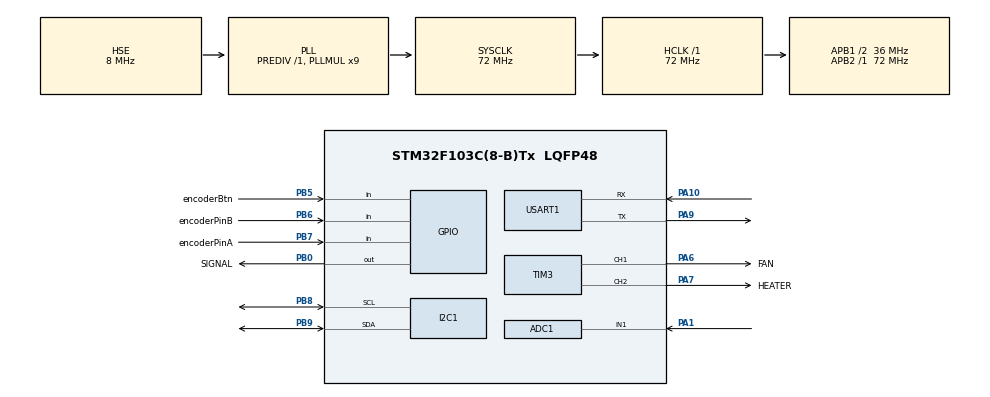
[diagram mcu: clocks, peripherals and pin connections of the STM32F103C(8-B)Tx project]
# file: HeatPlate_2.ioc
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ADC1.Channel-1\#ChannelRegularConversion=ADC_CHANNEL_1
ADC1.ContinuousConvMode=ENABLE
ADC1.EnableInjectedConversion=DISABLE
ADC1.ExternalTrigConv=ADC_SOFTWARE_START
ADC1.InjNumberOfConversion=3
ADC1.NbrOfConversion=1
ADC1.NbrOfConversionFlag=1
ADC1.Rank-1\#ChannelRegularConversion=1
ADC1.SamplingTime-1\#ChannelRegularConversion=ADC_SAMPLETIME_71CYCLES_5
ADC1.master=1
Dma.ADC1.0.Direction=DMA_PERIPH_TO_MEMORY
Dma.ADC1.0.Instance=DMA1_Channel1
Dma.ADC1.0.MemDataAlignment=DMA_MDATAALIGN_WORD
Dma.ADC1.0.MemInc=DMA_MINC_ENABLE
Dma.ADC1.0.Mode=DMA_CIRCULAR
Dma.ADC1.0.PeriphDataAlignment=DMA_PDATAALIGN_WORD
Dma.ADC1.0.PeriphInc=DMA_PINC_DISABLE
Dma.ADC1.0.Priority=DMA_PRIORITY_LOW
Dma.Request0=ADC1
Mcu.Family=STM32F1
Mcu.Name=STM32F103C(8-B)Tx
Mcu.Package=LQFP48
NVIC.DMA1_Channel1_IRQn=true\:0\:0\:false\:false\:true\:false\:true\:true
NVIC.PriorityGroup=NVIC_PRIORITYGROUP_4
NVIC.TIM2_IRQn=true\:0\:0\:false\:false\:true\:true\:true\:true
PA1.Signal=ADCx_IN1
PA10.Mode=Asynchronous
PA10.Signal=USART1_RX
PA13.Mode=Serial_Wire
PA13.Signal=SYS_JTMS-SWDIO
PA14.Mode=Serial_Wire
PA14.Signal=SYS_JTCK-SWCLK
PA6.GPIO_Label=FAN
PA6.Signal=S_TIM3_CH1
PA7.GPIO_Label=HEATER
PA7.Signal=S_TIM3_CH2
PA9.Mode=Asynchronous
PA9.Signal=USART1_TX
PB0.GPIO_Label=SIGNAL
PB0.Signal=GPIO_Output
PB5.GPIO_Label=encoderBtn
PB5.Signal=GPIO_Input
PB6.GPIO_Label=encoderPinB
PB6.Signal=GPIO_Input
PB7.GPIO_Label=encoderPinA
PB7.Signal=GPIO_Input
PB8.Mode=I2C
PB8.Signal=I2C1_SCL
PB9.Mode=I2C
PB9.Signal=I2C1_SDA
PD0-OSC_IN.Mode=HSE-External-Oscillator
PD0-OSC_IN.Signal=RCC_OSC_IN
PD1-OSC_OUT.Mode=HSE-External-Oscillator
PD1-OSC_OUT.Signal=RCC_OSC_OUT
ProjectManager.HeapSize=0x200
ProjectManager.StackSize=0x400
ProjectManager.TargetToolchain=STM32CubeIDE
RCC.ADCPresc=RCC_ADCPCLK2_DIV6
RCC.AHBFreq_Value=72000000
RCC.APB1CLKDivider=RCC_HCLK_DIV2
RCC.APB1Freq_Value=36000000
RCC.APB1TimFreq_Value=72000000
RCC.APB2Freq_Value=72000000
RCC.APB2TimFreq_Value=72000000
RCC.HCLKFreq_Value=72000000
RCC.PLLMUL=RCC_PLL_MUL9
RCC.PLLSourceVirtual=RCC_PLLSOURCE_HSE
RCC.SYSCLKFreq_VALUE=72000000
RCC.SYSCLKSource=RCC_SYSCLKSOURCE_PLLCLK
RCC.USBFreq_Value=72000000
SH.ADCx_IN1.0=ADC1_IN1,IN1
SH.S_TIM3_CH1.0=TIM3_CH1,PWM Generation1 CH1
SH.S_TIM3_CH2.0=TIM3_CH2,PWM Generation2 CH2
TIM2.AutoReloadPreload=TIM_AUTORELOAD_PRELOAD_ENABLE
TIM2.Period=2000-1
TIM2.Prescaler=720-1
TIM3.Channel-PWM\ Generation1\ CH1=TIM_CHANNEL_1
TIM3.Channel-PWM\ Generation2\ CH2=TIM_CHANNEL_2
USART1.VirtualMode=VM_ASYNC
VP_TIM2_VS_ClockSourceINT.Mode=Internal
board=custom

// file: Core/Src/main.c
/* USER CODE BEGIN Header */
/**
 ******************************************************************************
 * @file           : main.c
 * @brief          : Main program body
 ******************************************************************************
 * @attention
 *
 * Copyright (c) 2024 STMicroelectronics.
 * All rights reserved.
 *
 * This software is licensed under terms that can be found in the LICENSE file
 * in the root directory of this software component.
 * If no LICENSE file comes with this software, it is provided AS-IS.
 *
 ******************************************************************************
 */
/* USER CODE END Header */
#include "main.h"

/* USER CODE BEGIN Includes */
#include "stdio.h"
#include "stdlib.h"
#include "meun.h"
#include <string.h>
//#include "heater.h"
#include "NTCtempSensor.h"
#include "debug_print.h"
/* USER CODE END Includes */

/* USER CODE BEGIN PD */
//#define PREHEAT_TIME 100 * 1000 //sec to ms
//#define REFLOW_TIME 45 * 1000 //sec to ms
#define PREHEAT_TIME 10 * 1000 //sec to ms
#define REFLOW_TIME 5 * 1000 //sec to ms
#define PREHEAT_TEMP 150.0 //°C
#define REFLOW_TEMP 210.0 //°C

uint16_t counter_TM2 = 0;
uint32_t pid_counter = 0;

//state
uint8_t heatdone = 0;
uint8_t rundone = 1;

float err = 0.5;
//uint32_t reflowProcessTimeCounter = 0;
unsigned long long reflowProcessTimeCounter = 0;
unsigned long long _conventreflowProcessTimeCounter = 0;
uint32_t currentTimeCounter = 0;
uint16_t averageCurrentTemp = 0;
/* USER CODE END PD */

ADC_HandleTypeDef hadc1;
DMA_HandleTypeDef hdma_adc1;

I2C_HandleTypeDef hi2c1;

TIM_HandleTypeDef htim2;
TIM_HandleTypeDef htim3;

UART_HandleTypeDef huart1;

/* USER CODE BEGIN PV */
MEUN_TypeDef userMeun;
NTC_TypeDef ntc0;

//int list[] = {1, 2, 3};
//PIDController pidx[] = {pid0, pid1, pid2};

/* USER CODE END PV */

void SystemClock_Config(void);
static void MX_GPIO_Init(void);
static void MX_DMA_Init(void);
static void MX_TIM2_Init(void);
static void MX_USART1_UART_Init(void);
static void MX_ADC1_Init(void);
static void MX_I2C1_Init(void);
static void MX_TIM3_Init(void);
/* USER CODE BEGIN PFP */

void heating();
void reflowProcess();
/* USER CODE END PFP */

/* USER CODE BEGIN 0 */
double setTemp = 35.0;

double currentTemp;
double PIDOut;
uint32_t adcValue;
uint32_t CCR;
long double _resistor;
uint16_t _num;
uint8_t T_pinA;
uint8_t T_pinB;

/* USER CODE END 0 */

int main(void)
{

  /* MCU Configuration--------------------------------------------------------*/

  /* Reset of all peripherals, Initializes the Flash interface and the Systick. */
  HAL_Init();

  /* Configure the system clock */
  SystemClock_Config();

  /* Initialize all configured peripherals */
  MX_GPIO_Init();
  MX_DMA_Init();
  MX_TIM2_Init();
  MX_USART1_UART_Init();
  MX_ADC1_Init();
  MX_I2C1_Init();
  MX_TIM3_Init();
  /* USER CODE BEGIN 2 */
	debug_print("Init Start \n");
	HAL_GPIO_WritePin(GPIOC, GPIO_PIN_13, GPIO_PIN_RESET);
	debug_print("GPIO init OK!! \n");
	debug_print("heaterInit OK!! \n");

	meunInit(&userMeun, PREHEAT_TEMP, PREHEAT_TIME, REFLOW_TEMP, REFLOW_TIME);
	debug_print("meunInit OK!! \n");
	HAL_ADC_Start_DMA(&hadc1, &adcValue, 1);
	debug_print("ADC DMA init OK!! \n");
	HAL_TIM_Base_Start_IT(&htim2);
	HAL_TIM_Base_Start_IT(&htim3);
	HAL_TIM_PWM_Start(&htim3, TIM_CHANNEL_1);
	HAL_TIM_PWM_Start(&htim3, TIM_CHANNEL_2);
	debug_print("TIM init OK!! \n");
	debug_print("Init Done!! \n");

  /* USER CODE END 2 */

  /* Infinite loop */
  /* USER CODE BEGIN WHILE */
	while (1) {

		selectMeunHandler(&userMeun);
		T_pinA = GPIOB->IDR & GPIO_PIN_7;
		T_pinB = GPIOB->IDR & GPIO_PIN_8;
		if (counter_TM2 % 10 == 0) {
			if (userMeun.meunIndex == Reflow_Soliding_process
					&& userMeun.isReflowProcessing == 1) {
				reflowProcess();
			}
		}

		if (counter_TM2 % 12 == 0 && rundone) {

			displayMeunHandler(&userMeun);
		}

//		if (counter % 50 == 0 && rundone) {
//			printf("userMeun.isReflowProcessing = %d \r\n", userMeun.isReflowProcessing);
//			printf("reflowProcessTimeCounter = %lu \r\n", reflowProcessTimeCounter);
//			for(int i=0;i<3;i++){
//				printf("currentTemp %d = %3.f \r\n", i, currentTemp[i]);
//			}
//			printf("average = %d \r\n", averageCurrentTemp);
//		}
    /* USER CODE END WHILE */

	}
}

void SystemClock_Config(void)
{
  RCC_OscInitTypeDef RCC_OscInitStruct = {0};
  RCC_ClkInitTypeDef RCC_ClkInitStruct = {0};
  RCC_PeriphCLKInitTypeDef PeriphClkInit = {0};

  /** Initializes the RCC Oscillators according to the specified parameters
  * in the RCC_OscInitTypeDef structure.
  */
  RCC_OscInitStruct.OscillatorType = RCC_OSCILLATORTYPE_HSE;
  RCC_OscInitStruct.HSEState = RCC_HSE_ON;
  RCC_OscInitStruct.HSEPredivValue = RCC_HSE_PREDIV_DIV1;
  RCC_OscInitStruct.HSIState = RCC_HSI_ON;
  RCC_OscInitStruct.PLL.PLLState = RCC_PLL_ON;
  RCC_OscInitStruct.PLL.PLLSource = RCC_PLLSOURCE_HSE;
  RCC_OscInitStruct.PLL.PLLMUL = RCC_PLL_MUL9;
  if (HAL_RCC_OscConfig(&RCC_OscInitStruct) != HAL_OK)
  {
    Error_Handler();
  }

  /** Initializes the CPU, AHB and APB buses clocks
  */
  RCC_ClkInitStruct.ClockType = RCC_CLOCKTYPE_HCLK|RCC_CLOCKTYPE_SYSCLK
                              |RCC_CLOCKTYPE_PCLK1|RCC_CLOCKTYPE_PCLK2;
  RCC_ClkInitStruct.SYSCLKSource = RCC_SYSCLKSOURCE_PLLCLK;
  RCC_ClkInitStruct.AHBCLKDivider = RCC_SYSCLK_DIV1;
  RCC_ClkInitStruct.APB1CLKDivider = RCC_HCLK_DIV2;
  RCC_ClkInitStruct.APB2CLKDivider = RCC_HCLK_DIV1;

  if (HAL_RCC_ClockConfig(&RCC_ClkInitStruct, FLASH_LATENCY_2) != HAL_OK)
  {
    Error_Handler();
  }
  PeriphClkInit.PeriphClockSelection = RCC_PERIPHCLK_ADC;
  PeriphClkInit.AdcClockSelection = RCC_ADCPCLK2_DIV6;
  if (HAL_RCCEx_PeriphCLKConfig(&PeriphClkInit) != HAL_OK)
  {
    Error_Handler();
  }
}

static void MX_ADC1_Init(void)
{

  ADC_ChannelConfTypeDef sConfig = {0};

  /** Common config
  */
  hadc1.Instance = ADC1;
  hadc1.Init.ScanConvMode = ADC_SCAN_ENABLE;
  hadc1.Init.ContinuousConvMode = ENABLE;
  hadc1.Init.DiscontinuousConvMode = DISABLE;
  hadc1.Init.ExternalTrigConv = ADC_SOFTWARE_START;
  hadc1.Init.DataAlign = ADC_DATAALIGN_RIGHT;
  hadc1.Init.NbrOfConversion = 1;
  if (HAL_ADC_Init(&hadc1) != HAL_OK)
  {
    Error_Handler();
  }

  /** Configure Regular Channel
  */
  sConfig.Channel = ADC_CHANNEL_1;
  sConfig.Rank = ADC_REGULAR_RANK_1;
  sConfig.SamplingTime = ADC_SAMPLETIME_71CYCLES_5;
  if (HAL_ADC_ConfigChannel(&hadc1, &sConfig) != HAL_OK)
  {
    Error_Handler();
  }

}

static void MX_I2C1_Init(void)
{

  hi2c1.Instance = I2C1;
  hi2c1.Init.ClockSpeed = 100000;
  hi2c1.Init.DutyCycle = I2C_DUTYCYCLE_2;
  hi2c1.Init.OwnAddress1 = 0;
  hi2c1.Init.AddressingMode = I2C_ADDRESSINGMODE_7BIT;
  hi2c1.Init.DualAddressMode = I2C_DUALADDRESS_DISABLE;
  hi2c1.Init.OwnAddress2 = 0;
  hi2c1.Init.GeneralCallMode = I2C_GENERALCALL_DISABLE;
  hi2c1.Init.NoStretchMode = I2C_NOSTRETCH_DISABLE;
  if (HAL_I2C_Init(&hi2c1) != HAL_OK)
  {
    Error_Handler();
  }

}

static void MX_TIM2_Init(void)
{

  TIM_ClockConfigTypeDef sClockSourceConfig = {0};
  TIM_MasterConfigTypeDef sMasterConfig = {0};

  htim2.Instance = TIM2;
  htim2.Init.Prescaler = 720-1;
  htim2.Init.CounterMode = TIM_COUNTERMODE_UP;
  htim2.Init.Period = 2000-1;
  htim2.Init.ClockDivision = TIM_CLOCKDIVISION_DIV1;
  htim2.Init.AutoReloadPreload = TIM_AUTORELOAD_PRELOAD_ENABLE;
  if (HAL_TIM_Base_Init(&htim2) != HAL_OK)
  {
    Error_Handler();
  }
  sClockSourceConfig.ClockSource = TIM_CLOCKSOURCE_INTERNAL;
  if (HAL_TIM_ConfigClockSource(&htim2, &sClockSourceConfig) != HAL_OK)
  {
    Error_Handler();
  }
  sMasterConfig.MasterOutputTrigger = TIM_TRGO_RESET;
  sMasterConfig.MasterSlaveMode = TIM_MASTERSLAVEMODE_DISABLE;
  if (HAL_TIMEx_MasterConfigSynchronization(&htim2, &sMasterConfig) != HAL_OK)
  {
    Error_Handler();
  }

}

static void MX_TIM3_Init(void)
{

  TIM_MasterConfigTypeDef sMasterConfig = {0};
  TIM_OC_InitTypeDef sConfigOC = {0};

  htim3.Instance = TIM3;
  htim3.Init.Prescaler = 0;
  htim3.Init.CounterMode = TIM_COUNTERMODE_UP;
  htim3.Init.Period = 65535;
  htim3.Init.ClockDivision = TIM_CLOCKDIVISION_DIV1;
  htim3.Init.AutoReloadPreload = TIM_AUTORELOAD_PRELOAD_DISABLE;
  if (HAL_TIM_PWM_Init(&htim3) != HAL_OK)
  {
    Error_Handler();
  }
  sMasterConfig.MasterOutputTrigger = TIM_TRGO_RESET;
  sMasterConfig.MasterSlaveMode = TIM_MASTERSLAVEMODE_DISABLE;
  if (HAL_TIMEx_MasterConfigSynchronization(&htim3, &sMasterConfig) != HAL_OK)
  {
    Error_Handler();
  }
  sConfigOC.OCMode = TIM_OCMODE_PWM1;
  sConfigOC.Pulse = 0;
  sConfigOC.OCPolarity = TIM_OCPOLARITY_HIGH;
  sConfigOC.OCFastMode = TIM_OCFAST_DISABLE;
  if (HAL_TIM_PWM_ConfigChannel(&htim3, &sConfigOC, TIM_CHANNEL_1) != HAL_OK)
  {
    Error_Handler();
  }
  if (HAL_TIM_PWM_ConfigChannel(&htim3, &sConfigOC, TIM_CHANNEL_2) != HAL_OK)
  {
    Error_Handler();
  }
  HAL_TIM_MspPostInit(&htim3);

}

static void MX_USART1_UART_Init(void)
{

  huart1.Instance = USART1;
  huart1.Init.BaudRate = 115200;
  huart1.Init.WordLength = UART_WORDLENGTH_8B;
  huart1.Init.StopBits = UART_STOPBITS_1;
  huart1.Init.Parity = UART_PARITY_NONE;
  huart1.Init.Mode = UART_MODE_TX_RX;
  huart1.Init.HwFlowCtl = UART_HWCONTROL_NONE;
  huart1.Init.OverSampling = UART_OVERSAMPLING_16;
  if (HAL_UART_Init(&huart1) != HAL_OK)
  {
    Error_Handler();
  }

}

static void MX_DMA_Init(void)
{

  /* DMA controller clock enable */
  __HAL_RCC_DMA1_CLK_ENABLE();

  /* DMA interrupt init */
  /* DMA1_Channel1_IRQn interrupt configuration */
  HAL_NVIC_SetPriority(DMA1_Channel1_IRQn, 0, 0);
  HAL_NVIC_EnableIRQ(DMA1_Channel1_IRQn);

}

static void MX_GPIO_Init(void)
{
  GPIO_InitTypeDef GPIO_InitStruct = {0};

  /* GPIO Ports Clock Enable */
  __HAL_RCC_GPIOD_CLK_ENABLE();
  __HAL_RCC_GPIOA_CLK_ENABLE();
  __HAL_RCC_GPIOB_CLK_ENABLE();

  /*Configure GPIO pin Output Level */
  HAL_GPIO_WritePin(SIGNAL_GPIO_Port, SIGNAL_Pin, GPIO_PIN_RESET);

  /*Configure GPIO pin : SIGNAL_Pin */
  GPIO_InitStruct.Pin = SIGNAL_Pin;
  GPIO_InitStruct.Mode = GPIO_MODE_OUTPUT_PP;
  GPIO_InitStruct.Pull = GPIO_NOPULL;
  GPIO_InitStruct.Speed = GPIO_SPEED_FREQ_LOW;
  HAL_GPIO_Init(SIGNAL_GPIO_Port, &GPIO_InitStruct);

  /*Configure GPIO pins : encoderBtn_Pin encoderPinB_Pin encoderPinA_Pin */
  GPIO_InitStruct.Pin = encoderBtn_Pin|encoderPinB_Pin|encoderPinA_Pin;
  GPIO_InitStruct.Mode = GPIO_MODE_INPUT;
  GPIO_InitStruct.Pull = GPIO_NOPULL;
  HAL_GPIO_Init(GPIOB, &GPIO_InitStruct);

}

/* USER CODE BEGIN 4 */

void HAL_TIM_PeriodElapsedCallback(TIM_HandleTypeDef *htim) {

	if (htim->Instance == TIM2) { //50ms per tick
//		uint8_t tempFlag = &userMeun.isReflowProcessing;

		if (userMeun.isReflowProcessing) {

			reflowProcessTimeCounter++;
		} else {
			reflowProcessTimeCounter = 0;
		}
//		reflowProcessTimeCounter = &userMeun.isReflowProcessing > 0 ? 0 : reflowProcessTimeCounter + 1;
		counter_TM2 = counter_TM2 > 500 ? 1 : counter_TM2 + 1;
		if (counter_TM2 % 2 == 0) {
			HAL_GPIO_TogglePin(SIGNAL_GPIO_Port, SIGNAL_Pin);
			rundone = 1; //runreset
//			printf(" Reset rundone \r\n");
		}
	} //end timer 2 interrupt
}

void heating() {

	currentTemp = calTemp(&ntc0, adcValue);
	_resistor = *&ntc0.resistor;
	_num= getTableNum(&ntc0);

	if (currentTemp - setTemp < err) {
		TIM3->CCR2++;
	} else {
		TIM3->CCR2--;
	}
}

void reflowProcess() {
//		printf("reflowProcess heating \r\n");

	//update the temp time inf to display
	_conventreflowProcessTimeCounter = reflowProcessTimeCounter * 20; //sys is 50Hz so one tick is 20ms
	if (counter_TM2 % 50 == 0) {

		userMeun.nowTemp = currentTemp;
		userMeun.heatTime = _conventreflowProcessTimeCounter / 1000.0;
		userMeun.meunNeedUpdate = 1;
	}

	//count time to run preheat process
	if (_conventreflowProcessTimeCounter < userMeun.perheatTime) {
		setTemp = (double) (userMeun.perheatTemp);
		strcpy(userMeun.status, "pre");
		heating();
		//count time to run reflow process
	} else if (_conventreflowProcessTimeCounter > userMeun.perheatTime
			&& _conventreflowProcessTimeCounter
					< (userMeun.reflowTime + userMeun.perheatTime)) {
		setTemp = (double) (userMeun.reflowTemp);
		strcpy(userMeun.status, "ref");
		heating();
		//time out of the reflow and preheat process

	} else if (_conventreflowProcessTimeCounter > userMeun.reflowTime + userMeun.perheatTime) { //cooling
		setTemp = 0;
		_conventreflowProcessTimeCounter = 0;
		userMeun.meunLayer = layer_3;
		selectLayer(&userMeun, Reflow_Done);
		cancelReflowing(&userMeun);
		updateDisplay(&userMeun);
		userMeun.isReflowDone = 1;
		TIM3->CCR2 = 0;
	}
}

/* USER CODE END 4 */

void Error_Handler(void)
{
	__disable_irq();
	while (1) {
	}
}
